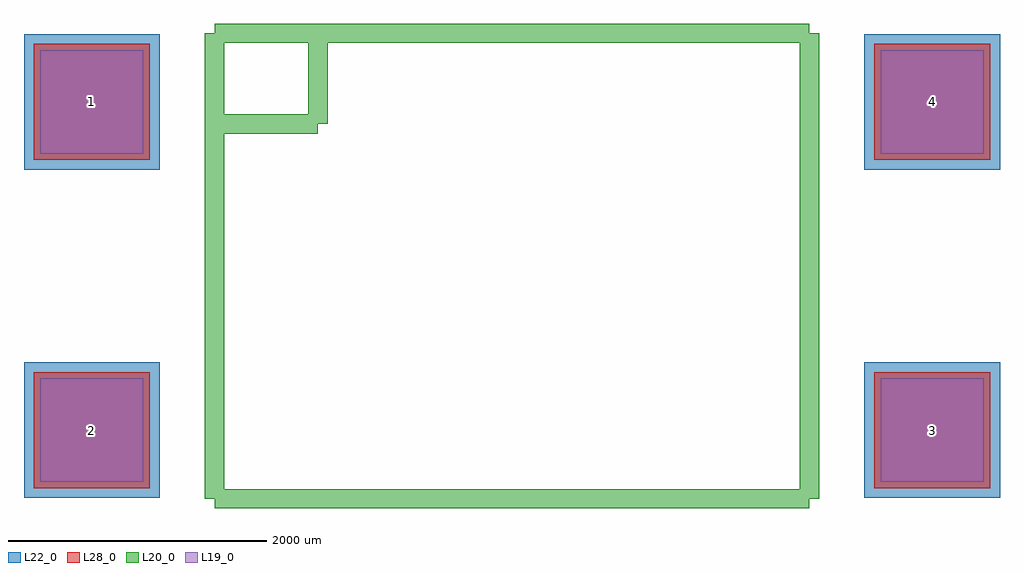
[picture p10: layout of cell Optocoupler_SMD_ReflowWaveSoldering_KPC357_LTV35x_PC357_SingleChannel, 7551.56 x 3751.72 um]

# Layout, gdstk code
import gdstk
lib = gdstk.Library(unit=1e-6, precision=1e-09)
def R(c, l, rs):  # rectangles x0, y0, x1, y1
    for r in rs: c.add(gdstk.rectangle(r[:2], r[2:], *l))
L19_0 = (19, 0)
L20_0 = (20, 0)
L22_0 = (22, 0)
L28_0 = (28, 0)

optocoupler_smd_reflowwa = lib.new_cell('Optocoupler_SMD_ReflowWaveSoldering_KPC357_LTV35x_PC357_SingleChannel')
R(optocoupler_smd_reflowwa, L19_0, [(-3650.78,-1669.58,-2851.62,-870.42), (2851.62,-1669.58,3650.78,-870.42), (-3650.78,870.42,-2851.62,1669.58), (2851.62,870.42,3650.78,1669.58)])
R(optocoupler_smd_reflowwa, L22_0, [(-3775.78,-1794.58,-2726.62,-745.42), (2726.62,-1794.58,3775.78,-745.42), (-3775.78,745.42,-2726.62,1794.58), (2726.62,745.42,3775.78,1794.58)])
R(optocoupler_smd_reflowwa, L28_0, [(-3700.78,-1719.58,-2801.62,-820.42), (2801.62,-1719.58,3700.78,-820.42), (-3700.78,820.42,-2801.62,1719.58), (2801.62,820.42,3700.78,1719.58)])
optocoupler_smd_reflowwa.add(gdstk.FlexPath([(2301.24,-1800.86),(2301.24,1800.86)], 149.998, ends="flush", simple_path=True, layer=20, datatype=0))  # L20_0
optocoupler_smd_reflowwa.add(gdstk.FlexPath([(-2301.24,-1800.86),(2301.24,-1800.86)], 149.998, ends="flush", simple_path=True, layer=20, datatype=0))  # L20_0
optocoupler_smd_reflowwa.add(gdstk.FlexPath([(-2301.24,1800.86),(-2301.24,-1800.86)], 149.998, ends="flush", simple_path=True, layer=20, datatype=0))  # L20_0
optocoupler_smd_reflowwa.add(gdstk.FlexPath([(2301.24,1800.86),(-2301.24,1800.86)], 149.998, ends="flush", simple_path=True, layer=20, datatype=0))  # L20_0
optocoupler_smd_reflowwa.add(gdstk.FlexPath([(-1501.14,1099.82),(-2301.24,1099.82)], 149.998, ends="flush", simple_path=True, layer=20, datatype=0))  # L20_0
optocoupler_smd_reflowwa.add(gdstk.FlexPath([(-1501.14,1800.86),(-1501.14,1099.82)], 149.998, ends="flush", simple_path=True, layer=20, datatype=0))  # L20_0
optocoupler_smd_reflowwa.add(gdstk.Label('3', (3251.2,-1270), layer=28, texttype=0))
optocoupler_smd_reflowwa.add(gdstk.Label('4', (3251.2,1270), layer=28, texttype=0))
optocoupler_smd_reflowwa.add(gdstk.Label('1', (-3251.2,1270), layer=28, texttype=0))
optocoupler_smd_reflowwa.add(gdstk.Label('2', (-3251.2,-1270), layer=28, texttype=0))
optocoupler_smd_reflowwa.add(gdstk.Label('type', (1270,-3810), layer=9, texttype=0))
optocoupler_smd_reflowwa.add(gdstk.Label('devicename', (0,3810), layer=9, texttype=0))

lib.write_gds('Optocoupler_SMD_ReflowWaveSoldering_KPC357_LTV35x_PC357_SingleChannel.gds')
